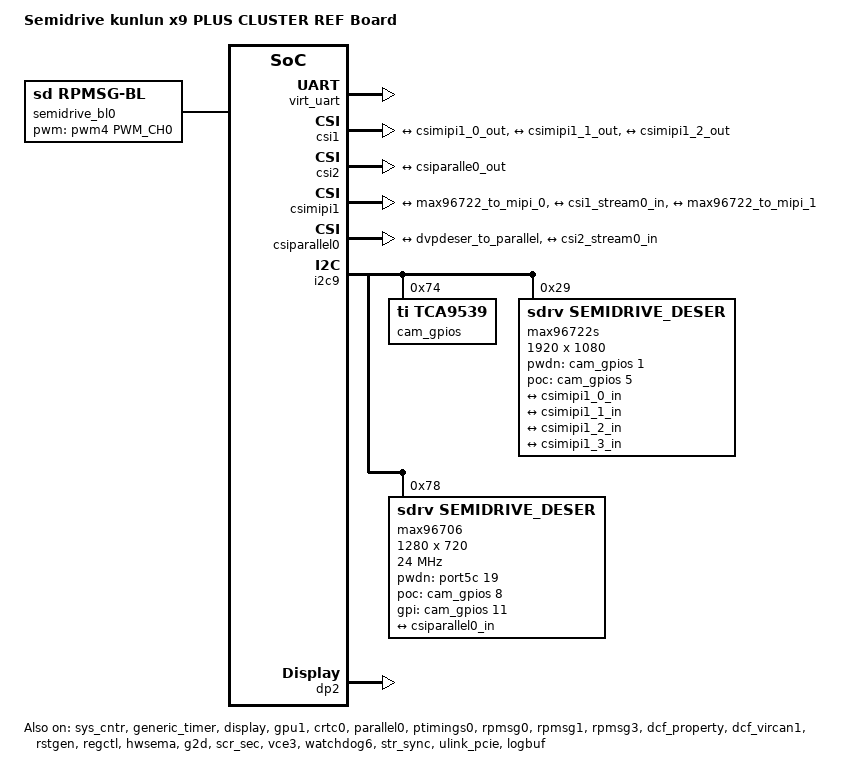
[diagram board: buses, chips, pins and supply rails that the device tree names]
/*
 * Semidrive kunlun platform DTS file
 *
 * Copyright (C) 2019, Semidrive  Communications Inc.
 *
 * This file is licensed under a dual GPLv2 or X11 license.
 */

/dts-v1/;

#include "x9_ultra_cluster_b.dtsi"
#include "x9_ultra_ref_cluster-clk-ctrl_b.dtsi"
#include "lcd-timings.dtsi"
#include <dt-bindings/pinctrl/pins-sdx9.h>
#include <dt-bindings/memmap/x9_ultra/projects/ms_serdes/side_b/image_cfg.h>
#include <dt-bindings/rpmsg/sd,x9u-ap2.h>
#include <dt-bindings/backlight/sdrv_backlight.h>
#include <dt-bindings/media/sdrv_csi.h>
#include <dt-bindings/soc/sdrv-unilink-x9u.h>

/ {
	model = "Semidrive kunlun x9 PLUS CLUSTER REF Board";

	compatible = "semidrive,kunlun";

	aliases {
		serial0 = &virt_uart;
	};

	memory@50000000 {
		device_type = "memory";
		reg = <HIGH32(AP2_KERNEL_MEMBASE-0x80000) LOW32(AP2_KERNEL_MEMBASE-0x80000) HIGH32(AP2_KERNEL_MEMSIZE) LOW32(AP2_KERNEL_MEMSIZE) \
			0x0 (VDSP_SHARE_MEMBASE+0x4000) 0x0 (VDSP_SHARE_MEMSIZE-0x4000)>;
	};

	reserved-memory {
		#address-cells = <2>;
		#size-cells = <2>;
		ranges;

		crashdump {
			/* reserve preloader mem for crashdump */
			compatibel = "crashdump";
			reg = <HIGH32(AP2_PRELOADER_MEMBASE) LOW32(AP2_PRELOADER_MEMBASE) 0 AP2_PRELOADER_MEMSIZE>;
		};

		ramoops {
			compatible = "ramoops";
			reg = <HIGH32(AP2_BOARD_RAMDISK_MEMBASE + AP2_BOARD_RAMDISK_MEMSIZE + 0x1000000)
				LOW32(AP2_BOARD_RAMDISK_MEMBASE + AP2_BOARD_RAMDISK_MEMSIZE + 0x1000000) 0x0 0x100000>;
			record-size = <0x60000>;
			console-size = <0x40000>;
			ftrace-size = <0x20000>;
			pmsg-size = <0x40000>;
		};

		/* Default Common CMA Pool */
		/* QUIRK: Must be kept in the lower 4096 MiBs of DRAM banks for VE */
		linux,cma {
			compatible = "shared-dma-pool";
			reusable;
			size = <0x0 0x6000000>; /* 32MB */
			/* 4GB maximum in case of 32-bit only capable devices */
			alloc-ranges = <0x0 0x0 0x0 0xffffffff>;
			linux,cma-default;
		};

                xrp_reserved: xrp@0 {
                        compatible = "shared-dma-pool";
                        status = "okay";
                        no-map;
                        reg = <0x0 VDSP_SHARE_MEMBASE 0x0 0x4000>;
                };

                xrp_shared: xrp,shmem {
                        reg = <0x0 (VDSP_SHARE_MEMBASE+0x4000) 0x0 (VDSP_SHARE_MEMSIZE-0x4000)>;
                };

		rproc_0_safety: rproc@0 {
			compatible = "shared-dma-pool";
			no-map;
			reg = <0x0 RPMSG0_MEM_POOL_BASE 0x0 RPMSG0_MEM_POOL_SIZE>;
		};

		rproc_1_secure: rproc@1 {
			compatible = "shared-dma-pool";
			no-map;
			reg = <0x0 RPMSG1_MEM_POOL_BASE 0x0 RPMSG1_MEM_POOL_SIZE>;
		};

		rproc_ap: rproc@3 {
			compatible = "shared-dma-pool";
			no-map;
			reg = <0x0 RPMSG3_MEM_POOL_BASE 0x0 RPMSG3_MEM_POOL_SIZE>;
		};

		memdisk_reserved: memdisk@80000000 {
			reg = <0x0 0x80000000 0x0 0x80000000>;
			no-map;
			status = "disabled";
		};
	};

	chosen {
		bootargs = "root=/dev/ram0 rootfstype=ramfs highres=1 nr_cpus=1 loglevel=4 console=ttyV0 fbcon=map:1 androidboot.mode=normal androidboot.selinux=permissive androidboot.debuggable=0 androidboot.dm_verity=disable psplash=false init=/init";
		stdout-path = "serial0";
		linux,initrd-start = <AP2_BOARD_RAMDISK_MEMBASE>;
		linux,initrd-end   = <(AP2_BOARD_RAMDISK_MEMBASE + AP2_BOARD_RAMDISK_MEMSIZE)>;/* 64MB */
	};

	semidrive_bl0: panel0-backlight {
		compatible = "sd,rpmsg-bl"; /*"sd,rpmsg-bl" for rpmsg; "pwm-backlight" for native*/
		bl_screen-id = /bits/ 32 <0>;
		pwms = <&pwm4 PWM_CH0 PWM_FREQUENCY PWM_POLARITY_INVERSED>;
		brightness-levels = <0 1 2 3 4 5 6 7 8 9 10 11 12 13 14 15 16
							 17 18 19 20 21 22 23 24 25 26 27 28 29 30
							 31 32 33 34 35 36 37 38 39 40 41 42 43 44
							 45 46 47 48 49 50 51 52 53 54 55 56 57 58
							 59 60 61 62 63 64 65 66 67 68 69 70 71 72
							 73 74 75 76 77 78 79 80 81 82 83 84 85 86
							 87 88 89 90 91 92 93 94 95 96 97 98 99 100>;
		default-brightness-level = <70>;
		status = "okay";
	};

	ulink_pcie: ulink_pcie {
		compatible = "sd,ulink-pcie-ep";
		reg = <0x0 0x310c8000 0x0 0x2000>;
		channel = <3>;
		status = "okay";
	};

	logbuf {
		compatible = "semidrive, logbuf";
		reg = <0x0 (SEC_MEMBASE + 0x10000000) 0x0 0x200000>;
		regctl = <&regctl SDRV_REG_EXCEPTION>;
		status = "okay";
	};
};

&virt_uart {
	status = "okay";
};

&sys_cntr {
	status = "okay";
};

&pwm4 {
	sd,playback-num-chan = <2>;
	#pwm-cells = <3>;
	status = "disabled";
};

&dmac3 {
	status = "okay";
};

&csi1 {
	mbus-type = "mipi-csi2";
	pclk-sample = <1>;
	status = "okay";

	ports {
		csi1_stream0: port@0 {
			csi1_stream0_in: endpoint@0 {
				remote-endpoint = <&csimipi1_0_out>;
			};
		};
		csi1_stream1: port@1 {
			csi1_stream1_in: endpoint@0 {
				remote-endpoint = <&csimipi1_1_out>;
			};
		};
		csi1_stream2: port@2 {
			csi1_stream2_in: endpoint@0 {
				remote-endpoint = <&csimipi1_2_out>;
			};
		};
		csi1_stream3: port@3 {
			csi1_stream3_in: endpoint@0 {
				remote-endpoint = <&csimipi1_3_out>;
			};
		};
	};
};
&csi2 {
	mbus-type = "parallel";
	pclk-sample = <0>;
	status = "okay";

	ports {
		csi2_stream0: port@0 {
			csi2_stream0_in: endpoint@0 {
				remote-endpoint = <&csiparalle0_out>;
			};
		};

	};
};

&csimipi1 {
	status = "okay";
	lanerate = <1500000000>;
	hsa = <10>;
	hbp = <20>;
	hsd = <0x60>;
	output-type = <0x1e>;

	ports {
		#address-cells = <1>;
		#size-cells = <0>;

		port@0 {
			#address-cells = <1>;
			#size-cells = <0>;
			reg = <0>;
			csimipi1_0_in: endpoint@0 {
				remote-endpoint = <&max96722_to_mipi_0>;
				reg = <0>;
			};
			csimipi1_0_out: endpoint@1 {
				remote-endpoint = <&csi1_stream0_in>;
				reg = <0>;
			};
		};
		port@1 {
			#address-cells = <1>;
			#size-cells = <0>;
			reg = <1>;
			csimipi1_1_in: endpoint@0 {
				remote-endpoint = <&max96722_to_mipi_1>;
				reg = <1>;
			};
			csimipi1_1_out: endpoint@1 {
				remote-endpoint = <&csi1_stream1_in>;
				reg = <1>;
			};
		};
		port@2 {
			#address-cells = <1>;
			#size-cells = <0>;
			reg = <2>;
			csimipi1_2_in: endpoint@0 {
				remote-endpoint = <&max96722_to_mipi_2>;
				reg = <2>;
			};
			csimipi1_2_out: endpoint@1 {
				remote-endpoint = <&csi1_stream2_in>;
				reg = <2>;
			};
		};
		port@3 {
			#address-cells = <1>;
			#size-cells = <0>;
			reg = <3>;
			csimipi1_3_in: endpoint@0 {
				remote-endpoint = <&max96722_to_mipi_3>;
				reg = <3>;
			};
			csimipi1_3_out: endpoint@1 {
				remote-endpoint = <&csi1_stream3_in>;
				reg = <3>;
			};
		};
	};
};
&csiparallel0 {
	status = "okay";
	#address-cells = <1>;
	#size-cells = <0>;

	port {
		#address-cells = <1>;
		#size-cells = <0>;
		reg = <0>;
		csiparallel0_in: endpoint@0 {
			remote-endpoint = <&dvpdeser_to_parallel>;
		};

		csiparallel0_out: endpoint@1 {
			remote-endpoint = <&csi2_stream0_in>;
		};
	};
};
&i2c9 {
	status = "okay";

	cam_gpios: gpio@74 {
		compatible = "ti,tca9539";
		reg = <0x74>;
		#gpio-cells = <2>;
		gpio-controller;
	};

	max96722s:max96722s@29 {
		compatible = "sdrv,semidrive_deser";
		reg = <0x29>;
		width = <1920>;
		height = <1080>;
		pwdn-gpios = <&cam_gpios 1 0>;
		poc-gpio = <&cam_gpios 5 0>;
		poc_addr = <0x28>;
		ser_addr = <0x40>;
		cam_module = "max96722_sengyun_IMX390c_5200_GMSL2_1080p";
		ports {
			port@0 {
				#address-cells = <1>;
				#size-cells = <0>;
				reg = <0>;
				remap_ser_addr = <0x48>;
				max96722_to_mipi_0: endpoint@0 {
					remote-endpoint = <&csimipi1_0_in>;
				};
			};
			port@1 {
				#address-cells = <1>;
				#size-cells = <0>;
				reg = <1>;
				remap_ser_addr = <0x49>;
				max96722_to_mipi_1: endpoint {
					remote-endpoint = <&csimipi1_1_in>;
				};
			};
			port@2 {
				#address-cells = <1>;
				#size-cells = <0>;
				reg = <2>;
				remap_ser_addr = <0x4a>;
				max96722_to_mipi_2: endpoint {
				remote-endpoint = <&csimipi1_2_in>;
				};
			};
			port@3 {
				#address-cells = <1>;
				#size-cells = <0>;
				reg = <3>;
				remap_ser_addr = <0x4b>;
				max96722_to_mipi_3: endpoint {
				remote-endpoint = <&csimipi1_3_in>;
				};
			};
		};
	};
	max96706:max96706@78 {
		compatible = "sdrv,semidrive_deser";
		clock-frequency = <24000000>;
		#address-cells = <1>;
		#size-cells = <0>;
		reg = <0x78>;
		width = <1280>;
		height = <720>;
		ser_addr = <0x40>;
		pwdn-gpios = <&port5c 19 0>;
		poc-gpios = <&cam_gpios 8 0>;
		gpi-gpios = <&cam_gpios 11 0>;
		cam_module = "max96706_fengjing_MC163_MAX96705_720p";
		ports {
				#address-cells = <1>;
				#size-cells = <0>;
				reg = <0>;
				remap_ser_addr = <0x4c>;
				dvpdeser_to_parallel: endpoint@0 {
					remote-endpoint = <&csiparallel0_in>;
				};
			};
		};
};
&uart9 {
	dmas = <&dmac3 X9_DMA_SLV_ID_UART10_TX>, <&dmac3 X9_DMA_SLV_ID_UART10_RX>;
	dma-names = "tx", "rx";
	status = "disabled";
};

&generic_timer {
	status = "okay";
};

&display {
	sdriv,crtc = <&crtc0>;
	status = "okay";
};

&gpu1 {
	status = "okay";
};

&vdsp {
        reg = <0x0 VDSP_SHARE_MEMBASE 0x0 0x1000>, /* DSP command queue */
              <0x0 (VDSP_SHARE_MEMBASE+0x4000) 0x0 (VDSP_SHARE_MEMSIZE-0x4000)>, /* DSP shared memory */
              <0x0 0x34040000 0x0 0x1000>, /* vdsp mu base address, pass to vdsp, won't map */
              <0x0 0x38316000 0x0 0x1000>, /* scr 0x458 */
              <0x0 0x3839e000 0x0 0x1000>, /* scr 0x678 */
              <0x0 0x38401000 0x0 0x2000>, /* rstgen core 0 */
              <0x0 0x38466000 0x0 0x1000>; /* rstgen module 38 */
        firmware-name = "xtensa.elf";
        firmware-entry = <VDSP_MEMBASE>;
        /*data ram0, data ram1, system ram, shared ram*/
        ranges = <0x0 0x00a00000 0x0 0x00a00000 0x0 0x00020000
                  0x0 0x00a20000 0x0 0x00a20000 0x0 0x00020000
                  0x0 VDSP_MEMBASE 0x0 VDSP_MEMBASE 0x0 VDSP_MEMSIZE
                  0x0 VDSP_SHARE_MEMBASE 0x0 VDSP_SHARE_MEMBASE 0x0 VDSP_SHARE_MEMSIZE>;
        status = "disabled";
};

&dp2 {
	status = "okay";
};

&crtc0 {
	dpc-master = <&dp2>;
	status = "okay";
};

&parallel0 {
	status = "okay";
};

&dtimings0 {
	native-mode = <&fhd1920x720>;
};

&ptimings0 {
	status = "okay";
};

&mbox {
	status = "okay";
};

&mbox_test {
	status = "okay";
};

&rpmsg0 {
	memory-region = <&rproc_0_safety>;
	reg = <0x0 RPMSG0_MEM_HEAD_BASE 0x0 RPMSG0_MEM_HEAD_SIZE>;
	mboxes = <&mbox 0x16 0x1600>;
	status = "okay";
};

&rpmsg1 {
	memory-region = <&rproc_1_secure>;
	reg = <0x0 RPMSG1_MEM_HEAD_BASE 0x0 RPMSG1_MEM_HEAD_SIZE>;
	mboxes = <&mbox 0x17 0x1701>;
	status = "okay";
};

&rpmsg3 {
	memory-region = <&rproc_ap>;
	reg = <0x0 RPMSG3_MEM_HEAD_BASE 0x0 RPMSG3_MEM_HEAD_SIZE>;
	mboxes = <&mbox 0x19 0x1903>;
	status = "okay";
};

&ipcc0 {
	mboxes = <&mbox 0x36 0x3600>;
	status = "okay";
};

&ipcc1 {
	mboxes = <&mbox 0x37 0x3701>;
	status = "okay";
};

&ipcc2 {
	mboxes = <&mbox 0x38 0x3802>;
	status = "okay";
};

&ipcc3 {
	status = "okay";
};

&dcf_property {
	status = "okay";
};

&dcf_vircan1 {
	status = "okay";
};

&pinctrl {
	reg = <0x0 0x37010000 0x0 0x10000>;
};

&gpio5 {
	status = "okay";
};

&rstgen {
	reg = <0x0 0x38492000 0x0 0x1000>,	/* gpu2 core */
		<0x0 0x38493000 0x0 0x1000>;	/* gpu2 ss */

	rstgen_resource = <
		RSTGEN_MODULE_GPU2_CORE
		RSTGEN_MODULE_GPU2_SS

	>;
	status = "okay";
};

&regctl {
	reg = <0x0 0x38415000 0x0 0x1000>,
		<0x0 0x38418000 0x0 0x1000>,
		<0x0 0x38419000 0x0 0x1000>,
		<0x0 0x3841a000 0x0 0x1000>,
		<0x0 0x3841b000 0x0 0x1000>;
	reg-names = "SDRV_REG_REMAP",
			"SDRV_REG_BOOTREASON",
			"SDRV_REG_HWID",
			"SDRV_REG_STATUS",
			"SDRV_REG_EXCEPTION";
	status = "okay";
};

&hwsema {
        status = "okay";
};

&vdsp_ipc {
        status = "disabled";
};

&g2d {
        status = "okay";
};

&scr_sec {
        status = "okay";
};

&vce3 {
   /*
 	* op-mode options:
 	* bit 0: rng enable(1) or disable(0)
 	* bit 1: ce enable(1) or disable(0)
 	*/
 	op-mode = <3>;
	status = "okay";
};

&watchdog6 {
	wdt,auto-run = "false";
	status = "okay";
};

&str_sync {
	status = "okay";
};

&ulink_channel0 {
	reg = <0x0 UNILINK_TX_AP2_TO_SAF_L 0x0 0x200000>,
		<0x0 UNILINK_RX_AP2_TO_SAF_L 0x0 0x200000>;
	status = "disabled";
};

&ulink_channel1 {
	reg = <0x0 UNILINK_TX_AP2_TO_AP1_L 0x0 0x200000>,
		<0x0 UNILINK_RX_AP2_TO_AP1_L 0x0 0x200000>;
	status = "disabled";
};

&ulink_channel2 {
	reg = <0x0 UNILINK_TX_AP2_TO_SAF_R 0x0 0x400000>,
		<0x0 UNILINK_RX_AP2_TO_SAF_R 0x0 0x400000>;
	status = "disabled";
};

&ulink_channel3 {
	reg = <0x0 UNILINK_TX_AP2_TO_AP1_R 0x0 0x400000>,
		<0x0 UNILINK_RX_AP2_TO_AP1_R 0x0 0x400000>;
	status = "disabled";
};
&ulink_channel4 {
	reg = <0x0 UNILINK_TX_AP2_TO_AP2_R 0x0 0x400000>,
		<0x0 UNILINK_RX_AP2_TO_AP2_R 0x0 0x400000>;
	status = "disabled";
};

&ulink_net {
	local-mac-address = [66 cd 04 0b 00 0e];
	status = "disabled";
};
